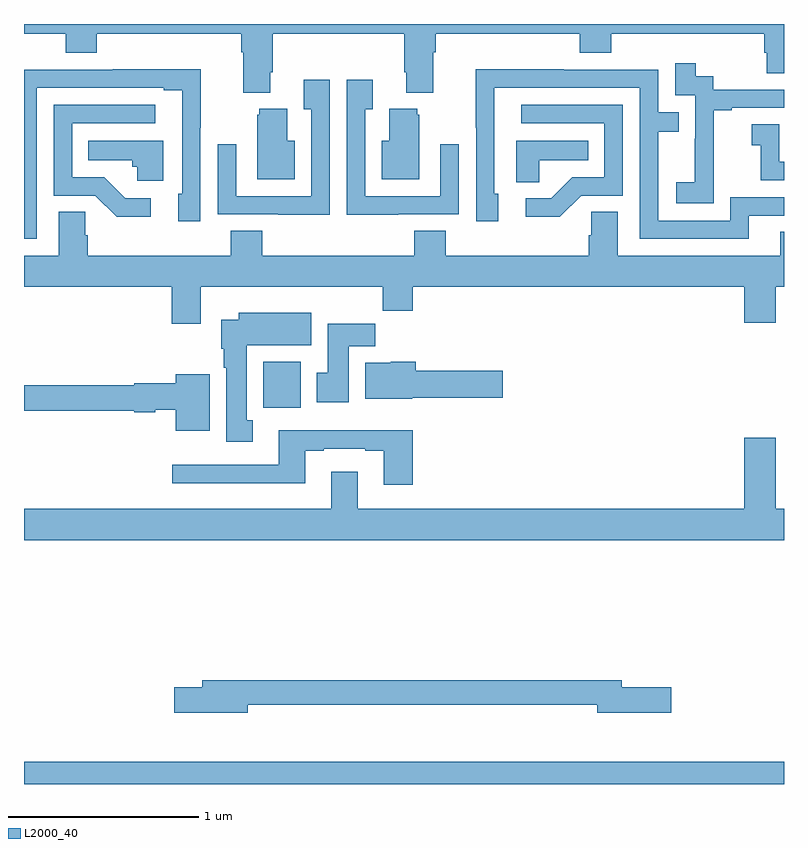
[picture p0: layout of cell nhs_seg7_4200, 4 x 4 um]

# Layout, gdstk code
import gdstk
lib = gdstk.Library(unit=1e-6, precision=1e-09)
def R(c, l, rs):  # rectangles x0, y0, x1, y1
    for r in rs: c.add(gdstk.rectangle(r[:2], r[2:], *l))
def P(c, l, *ps):  # polygons
    for p in ps: c.add(gdstk.Polygon(p, *l))
L2000_40 = (2000, 40)

nhs_seg7_4200 = lib.new_cell('nhs_seg7_4200')
R(nhs_seg7_4200, L2000_40, [(377,998,381,998.116), (378.26,999.98,378.457,1000.222)])
P(nhs_seg7_4200, L2000_40, [(379.001,1001.746),(379.013,1001.746),(379.013,1001.639),(379.153,1001.639),(379.153,1001.852),(379.166,1001.852),(379.166,1001.948),(379.925,1001.948),(379.925,1001.849),(380.09,1001.849),(380.09,1001.948),(380.897,1001.948),(380.897,1001.85),(380.909,1001.85),(380.909,1001.74),(381,1001.74),(381,1002),(377,1002),(377,1001.948),(377.219,1001.948),(377.219,1001.849),(377.384,1001.849),(377.384,1001.948),(378.143,1001.948),(378.143,1001.852),(378.155,1001.852),(378.155,1001.639),(378.295,1001.639),(378.295,1001.746),(378.308,1001.746),(378.308,1001.948),(379.001,1001.948)],
  [(380.631,1001.263),(380.63,1001.263),(380.63,1001.547),(380.725,1001.547),(380.725,1001.559),(381,1001.559),(381,1001.655),(380.628,1001.655),(380.628,1001.724),(380.536,1001.724),(380.536,1001.794),(380.427,1001.794),(380.427,1001.625),(380.532,1001.625),(380.532,1001.396),(380.531,1001.396),(380.531,1001.167),(380.433,1001.167),(380.433,1001.057),(380.631,1001.057)],
  [(377.067,1001.664),(377.735,1001.664),(377.735,1001.652),(377.832,1001.652),(377.832,1001.106),(377.813,1001.106),(377.813,1000.962),(377.928,1000.962),(377.928,1001.455),(377.931,1001.455),(377.931,1001.762),(377.467,1001.762),(377.467,1001.76),(377,1001.76),(377,1000.869),(377.067,1000.869)],
  [(380.815,1000.992),(381,1000.992),(381,1001.088),(380.718,1001.088),(380.718,1000.965),(380.337,1000.965),(380.337,1001.434),(380.447,1001.434),(380.447,1001.535),(380.337,1001.535),(380.337,1001.76),(379.841,1001.76),(379.841,1001.762),(379.378,1001.762),(379.378,1001.455),(379.38,1001.455),(379.38,1000.962),(379.495,1000.962),(379.495,1001.106),(379.476,1001.106),(379.476,1001.664),(380.241,1001.664),(380.241,1000.869),(380.815,1000.869)],
  [(378.971,1000.998),(379.287,1000.998),(379.287,1001.368),(379.191,1001.368),(379.191,1001.094),(378.795,1001.094),(378.795,1001.551),(378.835,1001.551),(378.835,1001.707),(378.699,1001.707),(378.699,1000.997),(378.971,1000.997)],
  [(378.609,1001.707),(378.473,1001.707),(378.473,1001.551),(378.513,1001.551),(378.513,1001.094),(378.117,1001.094),(378.117,1001.368),(378.021,1001.368),(378.021,1000.998),(378.337,1000.998),(378.337,1000.997),(378.609,1000.997)],
  [(377.668,1001.082),(377.533,1001.082),(377.422,1001.193),(377.253,1001.193),(377.253,1001.478),(377.692,1001.478),(377.692,1001.574),(377.157,1001.574),(377.157,1001.097),(377.376,1001.097),(377.489,1000.985),(377.668,1000.985)],
  [(379.932,1001.097),(380.151,1001.097),(380.151,1001.574),(379.617,1001.574),(379.617,1001.478),(380.055,1001.478),(380.055,1001.193),(379.886,1001.193),(379.775,1001.082),(379.641,1001.082),(379.641,1000.985),(379.819,1000.985)],
  [(378.424,1001.386),(378.385,1001.386),(378.385,1001.554),(378.239,1001.554),(378.239,1001.523),(378.227,1001.523),(378.227,1001.183),(378.424,1001.183)],
  [(379.081,1001.523),(379.07,1001.523),(379.07,1001.554),(378.923,1001.554),(378.923,1001.386),(378.884,1001.386),(378.884,1001.183),(379.081,1001.183)],
  [(381,1001.274),(380.976,1001.274),(380.976,1001.473),(380.829,1001.473),(380.829,1001.363),(380.878,1001.363),(380.878,1001.178),(381,1001.178)],
  [(379.713,1001.282),(379.97,1001.282),(379.97,1001.386),(379.592,1001.386),(379.592,1001.167),(379.713,1001.167)],
  [(377.734,1001.386),(377.338,1001.386),(377.338,1001.282),(377.569,1001.282),(377.569,1001.25),(377.595,1001.25),(377.595,1001.174),(377.734,1001.174)],
  [(378.254,1000.913),(378.089,1000.913),(378.089,1000.78),(377.336,1000.78),(377.336,1000.889),(377.322,1000.889),(377.322,1001.012),(377.183,1001.012),(377.183,1000.78),(377,1000.78),(377,1000.616),(377.777,1000.616),(377.777,1000.422),(377.929,1000.422),(377.929,1000.616),(378.889,1000.616),(378.889,1000.492),(379.046,1000.492),(379.046,1000.616),(380.792,1000.616),(380.792,1000.428),(380.956,1000.428),(380.956,1000.616),(381,1000.616),(381,1000.907),(380.981,1000.907),(380.981,1000.78),(380.125,1000.78),(380.125,1001.012),(379.986,1001.012),(379.986,1000.889),(379.973,1000.889),(379.973,1000.78),(379.22,1000.78),(379.22,1000.913),(379.055,1000.913),(379.055,1000.78),(378.254,1000.78)],
  [(378.205,999.914),(378.172,999.914),(378.172,1000.31),(378.511,1000.31),(378.511,1000.48),(378.131,1000.48),(378.131,1000.444),(378.038,1000.444),(378.038,1000.29),(378.05,1000.29),(378.05,1000.19),(378.065,1000.19),(378.065,999.801),(378.205,999.801)],
  [(378.709,1000.304),(378.848,1000.304),(378.848,1000.422),(378.599,1000.422),(378.599,1000.164),(378.542,1000.164),(378.542,1000.008),(378.709,1000.008)],
  [(379.044,1000.034),(379.519,1000.034),(379.519,1000.176),(379.061,1000.176),(379.061,1000.222),(378.93,1000.222),(378.93,1000.216),(378.797,1000.216),(378.797,1000.028),(379.044,1000.028)],
  [(377.977,1000.156),(377.798,1000.156),(377.798,1000.108),(377.58,1000.108),(377.58,1000.1),(377,1000.1),(377,999.964),(377.58,999.964),(377.58,999.956),(377.691,999.956),(377.691,999.971),(377.798,999.971),(377.798,999.86),(377.977,999.86)],
  [(379.046,999.862),(378.341,999.862),(378.341,999.681),(377.781,999.681),(377.781,999.584),(378.481,999.584),(378.481,999.753),(378.577,999.753),(378.577,999.765),(378.797,999.765),(378.797,999.753),(378.893,999.753),(378.893,999.576),(379.046,999.576)],
  [(381,999.448),(380.956,999.448),(380.956,999.823),(380.792,999.823),(380.792,999.448),(378.757,999.448),(378.757,999.643),(378.617,999.643),(378.617,999.448),(377,999.448),(377,999.284),(381,999.284)],
  [(378.178,998.418),(380.018,998.418),(380.018,998.375),(380.407,998.375),(380.407,998.51),(380.146,998.51),(380.146,998.546),(377.939,998.546),(377.939,998.51),(377.79,998.51),(377.79,998.375),(378.178,998.375)])

lib.write_gds('nhs_seg7_4200.gds')
